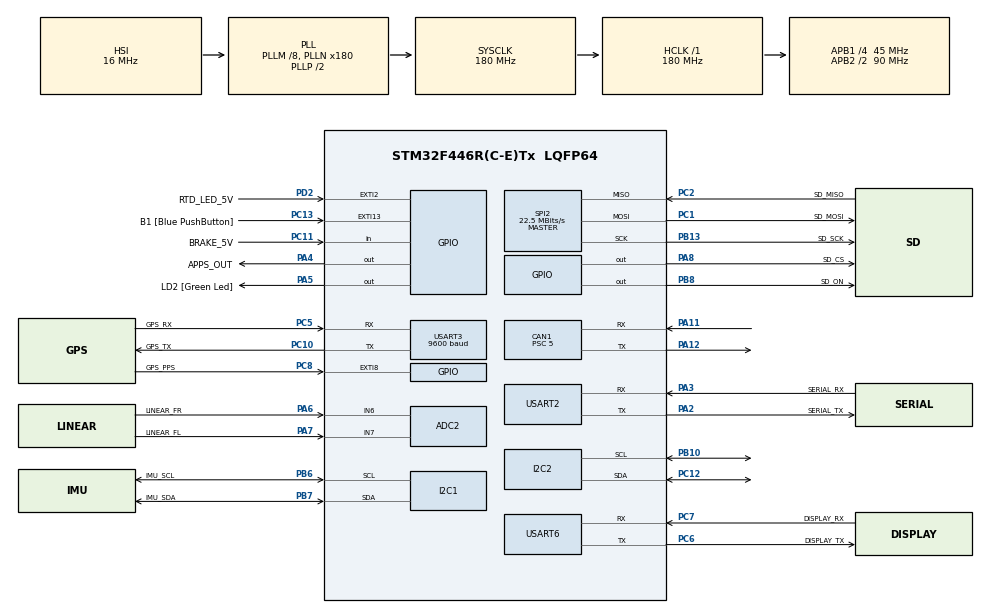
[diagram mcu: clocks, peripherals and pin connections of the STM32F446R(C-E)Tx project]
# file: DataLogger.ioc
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ADC2.Channel-10\#ChannelRegularConversion=ADC_CHANNEL_6
ADC2.Channel-11\#ChannelRegularConversion=ADC_CHANNEL_7
ADC2.ContinuousConvMode=ENABLE
ADC2.DMAContinuousRequests=ENABLE
ADC2.NbrOfConversion=2
ADC2.NbrOfConversionFlag=1
ADC2.Rank-10\#ChannelRegularConversion=1
ADC2.Rank-11\#ChannelRegularConversion=2
ADC2.SamplingTime-10\#ChannelRegularConversion=ADC_SAMPLETIME_480CYCLES
ADC2.SamplingTime-11\#ChannelRegularConversion=ADC_SAMPLETIME_480CYCLES
ADC2.ScanConvMode=ENABLE
CAN1.ABOM=ENABLE
CAN1.AWUM=DISABLE
CAN1.BS1=CAN_BS1_15TQ
CAN1.BS2=CAN_BS2_2TQ
CAN1.CalculateBaudRate=500000
CAN1.CalculateTimeBit=2000
CAN1.CalculateTimeQuantum=111.11111111111111
CAN1.Mode=CAN_MODE_NORMAL
CAN1.NART=ENABLE
CAN1.Prescaler=5
Dma.ADC2.1.Direction=DMA_PERIPH_TO_MEMORY
Dma.ADC2.1.FIFOMode=DMA_FIFOMODE_DISABLE
Dma.ADC2.1.Instance=DMA2_Stream2
Dma.ADC2.1.MemDataAlignment=DMA_MDATAALIGN_HALFWORD
Dma.ADC2.1.MemInc=DMA_MINC_ENABLE
Dma.ADC2.1.Mode=DMA_CIRCULAR
Dma.ADC2.1.PeriphDataAlignment=DMA_PDATAALIGN_HALFWORD
Dma.ADC2.1.PeriphInc=DMA_PINC_DISABLE
Dma.ADC2.1.Priority=DMA_PRIORITY_LOW
Dma.I2C1_RX.2.Direction=DMA_PERIPH_TO_MEMORY
Dma.I2C1_RX.2.FIFOMode=DMA_FIFOMODE_DISABLE
Dma.I2C1_RX.2.Instance=DMA1_Stream0
Dma.I2C1_RX.2.MemDataAlignment=DMA_MDATAALIGN_BYTE
Dma.I2C1_RX.2.MemInc=DMA_MINC_ENABLE
Dma.I2C1_RX.2.Mode=DMA_NORMAL
Dma.I2C1_RX.2.PeriphDataAlignment=DMA_PDATAALIGN_BYTE
Dma.I2C1_RX.2.PeriphInc=DMA_PINC_DISABLE
Dma.I2C1_RX.2.Priority=DMA_PRIORITY_LOW
Dma.I2C2_RX.3.Direction=DMA_PERIPH_TO_MEMORY
Dma.I2C2_RX.3.FIFOMode=DMA_FIFOMODE_DISABLE
Dma.I2C2_RX.3.Instance=DMA1_Stream2
Dma.I2C2_RX.3.MemDataAlignment=DMA_MDATAALIGN_BYTE
Dma.I2C2_RX.3.MemInc=DMA_MINC_ENABLE
Dma.I2C2_RX.3.Mode=DMA_NORMAL
Dma.I2C2_RX.3.PeriphDataAlignment=DMA_PDATAALIGN_BYTE
Dma.I2C2_RX.3.PeriphInc=DMA_PINC_DISABLE
Dma.I2C2_RX.3.Priority=DMA_PRIORITY_LOW
Dma.Request0=USART6_TX
Dma.Request1=ADC2
Dma.Request2=I2C1_RX
Dma.Request3=I2C2_RX
Dma.USART6_TX.0.Direction=DMA_MEMORY_TO_PERIPH
Dma.USART6_TX.0.FIFOMode=DMA_FIFOMODE_DISABLE
Dma.USART6_TX.0.Instance=DMA2_Stream6
Dma.USART6_TX.0.MemDataAlignment=DMA_MDATAALIGN_BYTE
Dma.USART6_TX.0.MemInc=DMA_MINC_ENABLE
Dma.USART6_TX.0.Mode=DMA_NORMAL
Dma.USART6_TX.0.PeriphDataAlignment=DMA_PDATAALIGN_BYTE
Dma.USART6_TX.0.PeriphInc=DMA_PINC_DISABLE
Dma.USART6_TX.0.Priority=DMA_PRIORITY_LOW
FATFS._MAX_SS=4096
FATFS._USE_LFN=1
I2C1.I2C_Mode=I2C_Standard
IWDG.Prescaler=IWDG_PRESCALER_32
Mcu.Family=STM32F4
Mcu.Name=STM32F446R(C-E)Tx
Mcu.Package=LQFP64
NVIC.CAN1_RX0_IRQn=true\:0\:0\:false\:false\:true\:true\:true\:true
NVIC.CAN1_SCE_IRQn=true\:0\:0\:false\:false\:true\:true\:true\:true
NVIC.DMA1_Stream0_IRQn=true\:0\:0\:false\:false\:true\:false\:true\:true
NVIC.DMA1_Stream2_IRQn=true\:0\:0\:false\:false\:true\:false\:true\:true
NVIC.DMA2_Stream2_IRQn=true\:0\:0\:false\:false\:true\:false\:true\:true
NVIC.DMA2_Stream6_IRQn=true\:0\:0\:false\:false\:true\:false\:true\:true
NVIC.EXTI15_10_IRQn=true\:0\:0\:false\:false\:true\:true\:true\:true
NVIC.EXTI9_5_IRQn=true\:0\:0\:false\:false\:true\:true\:true\:true
NVIC.I2C1_ER_IRQn=true\:0\:0\:false\:false\:true\:true\:true\:true
NVIC.I2C1_EV_IRQn=true\:0\:0\:false\:false\:true\:true\:true\:true
NVIC.I2C2_ER_IRQn=true\:0\:0\:false\:false\:true\:true\:true\:true
NVIC.I2C2_EV_IRQn=true\:0\:0\:false\:false\:true\:true\:true\:true
NVIC.PriorityGroup=NVIC_PRIORITYGROUP_0
NVIC.USART3_IRQn=true\:0\:0\:false\:false\:true\:true\:true\:true
NVIC.USART6_IRQn=true\:0\:0\:false\:false\:true\:true\:true\:true
PA0-WKUP.GPIO_Label=APPS1
PA0-WKUP.Signal=ADCx_IN0
PA11.Mode=CAN_Activate
PA11.Signal=CAN1_RX
PA12.Mode=CAN_Activate
PA12.Signal=CAN1_TX
PA13.GPIO_Label=TMS
PA13.Mode=Serial_Wire
PA13.Signal=SYS_JTMS-SWDIO
PA14.GPIO_Label=TCK
PA14.Mode=Serial_Wire
PA14.Signal=SYS_JTCK-SWCLK
PA2.GPIO_Label=SERIAL_TX
PA2.Mode=Asynchronous
PA2.Signal=USART2_TX
PA3.GPIO_Label=SERIAL_RX
PA3.Mode=Asynchronous
PA3.Signal=USART2_RX
PA4.GPIO_Label=APPS_OUT
PA4.Signal=GPIO_Output
PA5.GPIO_Label=LD2 [Green Led]
PA5.Signal=GPIO_Output
PA6.GPIO_Label=LINEAR_FR
PA6.Signal=ADCx_IN6
PA7.GPIO_Label=LINEAR_FL
PA7.Signal=ADCx_IN7
PA8.GPIO_Label=SD_CS
PA8.Signal=GPIO_Output
PB10.Mode=I2C
PB10.Signal=I2C2_SCL
PB13.GPIO_Label=SD_SCK
PB13.Mode=Full_Duplex_Master
PB13.Signal=SPI2_SCK
PB3.GPIO_Label=SWO
PB3.Signal=SYS_JTDO-SWO
PB6.GPIO_Label=IMU_SCL
PB6.Mode=I2C
PB6.Signal=I2C1_SCL
PB7.GPIO_Label=IMU_SDA
PB7.Mode=I2C
PB7.Signal=I2C1_SDA
PB8.GPIO_Label=SD_ON
PB8.Signal=GPIO_Output
PC1.GPIO_Label=SD_MOSI
PC1.Mode=Full_Duplex_Master
PC1.Signal=SPI2_MOSI
PC10.GPIO_Label=GPS_TX
PC10.Mode=Asynchronous
PC10.Signal=USART3_TX
PC11.GPIO_Label=BRAKE_5V
PC11.Signal=GPIO_Input
PC12.Mode=I2C
PC12.Signal=I2C2_SDA
PC13.GPIO_Label=B1 [Blue PushButton]
PC13.GPIO_ModeDefaultEXTI=GPIO_MODE_IT_FALLING
PC13.Signal=GPXTI13
PC14-OSC32_IN.Signal=RCC_OSC32_IN
PC15-OSC32_OUT.Signal=RCC_OSC32_OUT
PC2.GPIO_Label=SD_MISO
PC2.Mode=Full_Duplex_Master
PC2.Signal=SPI2_MISO
PC5.GPIO_Label=GPS_RX
PC5.Mode=Asynchronous
PC5.Signal=USART3_RX
PC6.GPIO_Label=DISPLAY_TX
PC6.Mode=Asynchronous
PC6.Signal=USART6_TX
PC7.GPIO_Label=DISPLAY_RX
PC7.Mode=Asynchronous
PC7.Signal=USART6_RX
PC8.GPIO_Label=GPS_PPS
PC8.Signal=GPXTI8
PD2.GPIO_Label=RTD_LED_5V
PD2.GPIO_ModeDefaultEXTI=GPIO_MODE_IT_RISING_FALLING
PD2.Signal=GPXTI2
PH0-OSC_IN.Signal=RCC_OSC_IN
PH1-OSC_OUT.Signal=RCC_OSC_OUT
ProjectManager.HeapSize=0x800
ProjectManager.StackSize=0x1000
ProjectManager.TargetToolchain=STM32CubeIDE
RCC.48MHZClocksFreq_Value=84000000
RCC.AHBFreq_Value=180000000
RCC.APB1CLKDivider=RCC_HCLK_DIV4
RCC.APB1Freq_Value=45000000
RCC.APB1TimFreq_Value=90000000
RCC.APB2CLKDivider=RCC_HCLK_DIV2
RCC.APB2Freq_Value=90000000
RCC.APB2TimFreq_Value=180000000
RCC.CortexFreq_Value=180000000
RCC.FLatency-AdvancedSettings=FLASH_LATENCY_5
RCC.HCLKFreq_Value=180000000
RCC.HSE_VALUE=8000000
RCC.HSI_VALUE=16000000
RCC.PLLM=8
RCC.PLLN=180
RCC.PLLQ=8
RCC.SYSCLKFreq_VALUE=180000000
RCC.SYSCLKSource=RCC_SYSCLKSOURCE_PLLCLK
RCC.USBFreq_Value=45000000
RCC.VCOOutputFreq_Value=360000000
SH.ADCx_IN0.0=ADC1_IN0
SH.ADCx_IN6.0=ADC2_IN6,IN6
SH.ADCx_IN7.0=ADC2_IN7,IN7
SPI2.CalculateBaudRate=22.5 MBits/s
SPI2.Direction=SPI_DIRECTION_2LINES
SPI2.Mode=SPI_MODE_MASTER
SPI2.VirtualType=VM_MASTER
USART2.VirtualMode=VM_ASYNC
USART3.BaudRate=9600
USART3.VirtualMode=VM_ASYNC
USART6.VirtualMode=VM_ASYNC
VP_FATFS_VS_Generic.Mode=User_defined
VP_IWDG_VS_IWDG.Mode=IWDG_Activate
VP_RTC_VS_RTC_Activate.Mode=RTC_Enabled
board=NUCLEO-F446RE

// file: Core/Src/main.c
/* USER CODE BEGIN Header */
/**
  ******************************************************************************
  * @file           : main.c
  * @brief          : Main program body
  ******************************************************************************
  * @attention
  *
  * Copyright (c) 2026 STMicroelectronics.
  * All rights reserved.
  *
  * This software is licensed under terms that can be found in the LICENSE file
  * in the root directory of this software component.
  * If no LICENSE file comes with this software, it is provided AS-IS.
  *
  ******************************************************************************
  */
/* USER CODE END Header */
#include "main.h"
#include "adc.h"
#include "can.h"
#include "dma.h"
#include "fatfs.h"
#include "i2c.h"
#include "iwdg.h"
#include "rtc.h"
#include "spi.h"
#include "usart.h"
#include "gpio.h"

/* USER CODE BEGIN Includes */
#include <stdio.h>
#include <string.h>
#include "gps.h"
#include "ringbuffer.h"
#include "MPU9250.h"
#include "VehicleState.h"
#include "DisplayTransmit.h"
#include "CrossDetect.h"
#include "APPS.h"
/* USER CODE END Includes */

/* USER CODE BEGIN PV */

// GPS //
extern GPS_t GPS; 			// GPS Data

int retry_count = 0;

float GPS_prev_lat = 0;
float GPS_prev_lon = 0;

// MPU //
MPU9250_t myMPU;
double gyro_bias[3] = {0, 0, 0};
double mag_bias[3] = {0, 0, 0};
double cal_gyro[3];
double cal_mag[3];

// Linear //
int32_t linear_bias[2] = {0, 0};

// prev tick //
static uint32_t imu_prev_tick = 0;
static uint32_t mag_prev_tick = 0;
static uint32_t sd_prev_tick = 0;
static uint32_t sync_prev_tick = 0;
static uint32_t linear_prev_tick = 0;
static uint32_t ped_prev_tick = 0;
volatile uint8_t sync_pending = 0;

// FATFS & microSD //
char sd_temp[2048];
uint16_t current_len = 0; // SDIO 용 데이터 길이 확인용
uint16_t remain = 0;
uint8_t can_count = 0;

__attribute__((aligned(4))) FATFS   fs;   // FATFS structure
FIL     file; // File object structure
FRESULT res;  // File function return code
UINT    bytes_written; // The number of bytes actually written
uint32_t sync_count = 0;

// Display and States
VehicleState VS;
DisplayTransmit DISP;
extern uint8_t disp_dma_ready;
extern uint8_t laps;
extern uint32_t lap_time;
extern uint32_t pre_tick;
extern volatile uint16_t advBuf[2];

// RTC
RTC_DateTypeDef sDate;
RTC_TimeTypeDef sTime;

volatile uint8_t current_Hours = 0;
volatile uint8_t current_Minutes = 0;
volatile uint8_t current_Seconds = 0;
volatile int current_SubSeconds = 0;

uint16_t sync_error = 0;

uint32_t UTC_temp  = 0;
uint32_t UTC_prev = 0;
volatile uint8_t UTC_flag = 0;
volatile uint8_t RTD_flag = 0;

// Module Status
uint8_t init_status = 0; // 0:CAN  1:SD  2:GPS  3:IMU 4: UTC
uint8_t RTD_status = 0; // 0: RTD OFF, 1: RTD ON
uint8_t UTC_status = 0; // 0 : UTC Unsynced, 1: UTC Synced

extern float pos1;
extern float pos2;
/* USER CODE END PV */

void SystemClock_Config(void);
/* USER CODE BEGIN PFP */

// SPI2 통신 기본 PFP //
void SD_Init(void);
void SD_WriteFile(char *data, int len);
void SD_SaveFile(void);

// UART 통신 기본 PFP //
int _write(int file, char *ptr, int len);   // printf UART 출력
/* USER CODE END PFP */

/* USER CODE BEGIN 0 */

int _write(int file, char *ptr, int len) // printf UART 출력
{
    HAL_UART_Transmit(&huart2, (uint8_t*)ptr, len, HAL_MAX_DELAY);
    return len;
}

// SDIO //
void SD_Init(void) {
	// 1. SD card Mount
	HAL_GPIO_WritePin(SD_ON_GPIO_Port, SD_ON_Pin, GPIO_PIN_RESET);

	HAL_Delay(500);

	HAL_GPIO_WritePin(SD_ON_GPIO_Port, SD_ON_Pin, GPIO_PIN_SET);

	res = f_mount(&fs, "", 1);
	if (res != FR_OK) {
		init_status |= (1 << 1);
	}

	res = f_open(&file, "data.csv", FA_WRITE | FA_OPEN_APPEND);
	if (res != FR_OK) {
		init_status |= (1 << 1);
	}
}

void SD_WriteFile(char *data, int len){
	res = f_write(&file, data, len, &bytes_written);
	if (res == FR_OK) {
		//printf("Write Complete!\n");
	} else {
		//printf("Write Failed! Error Code : %d\n", res);
	}
}

void SD_SaveFile(void){
	res = f_sync(&file);
	if (res == FR_OK) {
		HAL_GPIO_WritePin(GPIOA, GPIO_PIN_5, GPIO_PIN_SET);
		//HAL_GPIO_WritePin(APPS_OUT_GPIO_Port, APPS_OUT_Pin, GPIO_PIN_SET);
		//printf("Sync Complete!\n");
	} else {
		//printf("Sync Failed! Error Code : %d\n", res);
		HAL_GPIO_WritePin(GPIOA, GPIO_PIN_5, GPIO_PIN_RESET);
		//HAL_GPIO_WritePin(APPS_OUT_GPIO_Port, APPS_OUT_Pin, GPIO_PIN_RESET);
		Error_Handler();
	}
}

// RTC //
void get_time(void)
{
	HAL_RTC_GetTime(&hrtc, &sTime, RTC_FORMAT_BCD);
	HAL_RTC_GetDate(&hrtc, &sDate, RTC_FORMAT_BCD);
}

void CAN_Send_Blocking(CAN_HandleTypeDef *hcan, uint32_t id, uint8_t *data, uint8_t len)
{
	HAL_Delay(10);
    uint32_t timeout = HAL_GetTick();
    // 빈 메일박스가 생길 때까지 대기
    while (HAL_CAN_GetTxMailboxesFreeLevel(hcan) == 0) {
        if (HAL_GetTick() - timeout > 10) return;   // 10ms 타임아웃
    }
    CAN_Send(hcan, id, data, len);
}
/* USER CODE END 0 */

int main(void)
{

  /* MCU Configuration--------------------------------------------------------*/

  /* Reset of all peripherals, Initializes the Flash interface and the Systick. */
  HAL_Init();

  /* Configure the system clock */
  SystemClock_Config();

  /* Initialize all configured peripherals */
  MX_GPIO_Init();
  MX_DMA_Init();
  MX_USART2_UART_Init();
  MX_CAN1_Init();
  MX_RTC_Init();
  MX_FATFS_Init();
  MX_USART3_UART_Init();
  MX_I2C1_Init();
  MX_SPI2_Init();
  MX_USART6_UART_Init();
  MX_IWDG_Init();
  MX_ADC2_Init();
  MX_I2C2_Init();
  /* USER CODE BEGIN 2 */
  HAL_Delay(250);

  // CAN Init
  CAN_Config();

  // SD Init
  SD_Init();

  // GPS Init
  GPS_Init();

  // MPU Init
  //MPU_Init(&myMPU);

  // Linear Sensor Init
  //Linear_Init();

  // APPS Init
  APPS_Init();

  HAL_IWDG_Refresh(&hiwdg);
  if(init_status != 0) {
	  Error_Handler();
  }

  // Logging Start
  get_time();
  float subsec = (float)(255 - sTime.SubSeconds) / 256.0f;

  current_len += snprintf(sd_temp + current_len, sizeof(sd_temp) - current_len,
		  "%02x:%02x:%02x.%03d,SYSTEM,CONFIG ON,%d\n",
		  sTime.Hours, sTime.Minutes, sTime.Seconds, (int)(subsec*1000), init_status);

  DisplayTransmit_Init(&DISP, &VS);

  // IMU, Linear Calibration
  uint16_t CAL_count = 1000;
  while(CAL_count >0)
  {
	  CAL_count--;

	  MPU9250_ReadGyro(&myMPU);

	  gyro_bias[0] += myMPU.gyro[0];
	  gyro_bias[1] += myMPU.gyro[1];
	  gyro_bias[2] += myMPU.gyro[2];

	  //linear_bias[0] += advBuf[0];
	  //linear_bias[1] += advBuf[1];

  }

  gyro_bias[0] = gyro_bias[0] / 1000;
  gyro_bias[1] = gyro_bias[1] / 1000;
  gyro_bias[2] = gyro_bias[2] / 1000;

  //linear_bias[0] = linear_bias[0] / 1000;
  //linear_bias[1] = linear_bias[1] / 1000;

  //모컨 통신속도 제어

  uint8_t dat0[3] ={0x3D, 0x32, 0xFF};
  uint8_t dat1[3] ={0x3D, 0x30, 0x0A};
  uint8_t dat2[3] ={0x3D, 0x22, 0xFF};
  uint8_t dat3[3] ={0x3D, 0x27, 0xFF};
  uint8_t dat4[3] ={0x3D, 0x8A, 0xFF};
  uint8_t dat5[3] ={0x3D, 0x66, 0xFF};
  uint8_t dat6[3] ={0x3D, 0x49, 0x64};
  uint8_t dat7[3] ={0x3D, 0x4A, 0x64};

  //CAN_Send_Blocking(&hcan1, MOTOTX, dat0, 3);
  CAN_Send_Blocking(&hcan1, MOTOTX, dat1, 3);
  //CAN_Send_Blocking(&hcan1, MOTOTX, dat2, 3);
  //CAN_Send_Blocking(&hcan1, MOTOTX, dat3, 3);
  //CAN_Send_Blocking(&hcan1, MOTOTX, dat4, 3);
  //CAN_Send_Blocking(&hcan1, MOTOTX, dat5, 3);
  CAN_Send_Blocking(&hcan1, MOTOTX, dat6, 3);
  CAN_Send_Blocking(&hcan1, MOTOTX, dat7, 3);

  /* USER CODE END 2 */

  /* Infinite loop */
  /* USER CODE BEGIN WHILE */
  while (1)
  {
	  HAL_IWDG_Refresh(&hiwdg);

	  // RTD 체크
	  /*
	  RTD_flag = HAL_GPIO_ReadPin(RTD_LED_5V_GPIO_Port,RTD_LED_5V_Pin);
	  if(RTD_flag != RTD_status){
		  RTD_status = RTD_flag;

		  get_time();
		  float subsec = (float)(255 - sTime.SubSeconds) / 256.0f;

		  if(RTD_status == 1) {
			  current_len += snprintf(sd_temp + current_len, sizeof(sd_temp) - current_len,
					  	  	  "%02x:%02x:%02x.%03d,SYSTEM,RTD ON\n",
			  		  			sTime.Hours, sTime.Minutes, sTime.Seconds, (int)(subsec*1000));
		  } else if(RTD_status == 0) {
			  current_len += snprintf(sd_temp + current_len, sizeof(sd_temp) - current_len,
					  	  	  "%02x:%02x:%02x.%03d,SYSTEM,RTD OFF\n",
			  		  			sTime.Hours, sTime.Minutes, sTime.Seconds, (int)(subsec*1000));
		  }
	  }
	  */

	  RTD_status = 1;

	  // UTC - RTC 동기화
	  if(UTC_flag) {
	      UTC_temp = GPS.utc_time;

	      if(UTC_temp != UTC_prev && GPS.utc_time != 0) {
	          UTC_prev = UTC_temp;

	          uint32_t h = UTC_temp / 10000;
	          uint32_t m = (UTC_temp / 100) % 100;
	          uint32_t s = UTC_temp % 100;

	          s += 1;                          // PPS = 직전 초 +1
	          if(s >= 60) { s -= 60; m++; }
	          if(m >= 60) { m -= 60; h++; }
	          h += 9;                          // KST (UTC+9)
	          if(h >= 24) { h -= 24; }         // 날짜는 안 넘김 (주의)

	          sTime.Hours   = RTC_ByteToBcd2(h);
	          sTime.Minutes = RTC_ByteToBcd2(m);
	          sTime.Seconds = RTC_ByteToBcd2(s);
	          sTime.SubSeconds = 0;

	          HAL_RTC_SetTime(&hrtc, &sTime, RTC_FORMAT_BCD);
	          if(!init_status) {
	              current_len += snprintf(sd_temp + current_len, sizeof(sd_temp) - current_len,
	                      "%02x:%02x:%02x.%03d,SYSTEM,RTC-UTC SYNC\n",
	                      sTime.Hours, sTime.Minutes, sTime.Seconds, (int)(subsec*1000));
	              init_status |= 1<<4;
	          }
	      }
	      UTC_flag = 0;
	  }

	  // CAN Messages
	  can_count = 0;
	  while(IsPopAvailable() && can_count < 32)
	  {
		  get_time();
		  float subsec = (float)(255 - sTime.SubSeconds) / 256.0f;
	      RxMessage received = RingPop();
		  Classifier(&VS, received);
		  if(RTD_status) {
			  remain = sizeof(sd_temp) - current_len;
			  if (remain < 128) break;

			  current_len += snprintf(sd_temp + current_len, sizeof(sd_temp) - current_len, "%02x:%02x:%02x.%03d",
						sTime.Hours, sTime.Minutes, sTime.Seconds, (int)(subsec*1000));

			  current_len += snprintf(sd_temp + current_len, sizeof(sd_temp) - current_len, ",%lx", received.RxHeader.StdId);
			  for(int i = 0; i < received.RxHeader.DLC; i++) {
				  current_len += snprintf(sd_temp + current_len, sizeof(sd_temp) - current_len, ",%d", received.RxData[i]);
				  }
			  current_len += snprintf(sd_temp + current_len, sizeof(sd_temp) - current_len, ",\n");
			  can_count++;
		  }
	  }

	  // GPS (10Hz)
	  remain = sizeof(sd_temp) - current_len;
	  if (remain >= 128)
	  {
		  if(GPS.dec_latitude != GPS_prev_lat || GPS.dec_longitude != GPS_prev_lon)
		  {
			  if(RTD_status) {
				  get_time();
				  float subsec = (float)(255 - sTime.SubSeconds) / 256.0f;

				  current_len += snprintf(sd_temp + current_len, sizeof(sd_temp) - current_len, "%02x:%02x:%02x.%03d",
									sTime.Hours, sTime.Minutes, sTime.Seconds, (int)(subsec*1000));

				  current_len += snprintf(sd_temp + current_len, sizeof(sd_temp) - current_len, ",GPS,%f,%f,%f\n",
						  GPS.dec_latitude, GPS.dec_longitude, GPS.course_t);

				  //printf("GPS : %s", sd_temp);

				  if(get_line_intersection(GPS_prev_lat, GPS_prev_lon,
									  GPS.dec_latitude, GPS.dec_longitude))
				  {
					  current_len += snprintf(sd_temp + current_len, sizeof(sd_temp) - current_len, "%02x:%02x:%02x.%03d",
													sTime.Hours, sTime.Minutes, sTime.Seconds, (int)(subsec*1000));
					  current_len += snprintf(sd_temp + current_len, sizeof(sd_temp) - current_len, ",LAP,%d,%u\n",
											  laps, lap_time);
				  }
			  }

			  // 8. GPS 데이터 임시 저장 후 비교
			  GPS_prev_lat = GPS.dec_latitude;
			  GPS_prev_lon = GPS.dec_longitude;
		  }
	  }
/*
	  // Laps
	  VS.laps = laps;
	  VS.lap_time = (uint32_t)(HAL_GetTick() - pre_tick);
*/

	  // IMU (200Hz)
	  remain = sizeof(sd_temp) - current_len;
	  if (remain >= 128) {
		  if(HAL_GetTick() - imu_prev_tick >= 5) {
			  // 0. IMU 데이터 읽기
			  imu_prev_tick += 5;

			  MPU9250_ReadAcc(&myMPU);
			  MPU9250_ReadGyro(&myMPU);

			  cal_gyro[0] = myMPU.gyro[0] - gyro_bias[0];
			  cal_gyro[1] = myMPU.gyro[1] - gyro_bias[1];
			  cal_gyro[2] = myMPU.gyro[2] - gyro_bias[2];

			  if(RTD_status) {
				  get_time();
				  float subsec = (float)(255 - sTime.SubSeconds) / 256.0f;

				  current_len += snprintf(sd_temp + current_len, sizeof(sd_temp) - current_len, "%02x:%02x:%02x.%03d",
									sTime.Hours, sTime.Minutes, sTime.Seconds, (int)(subsec*1000));

				  current_len += snprintf(sd_temp + current_len, sizeof(sd_temp) - current_len,
						  ",IMU,%f,%f,%f,%f,%f,%f\n",
						  myMPU.acc[0], myMPU.acc[1], myMPU.acc[2],
						  cal_gyro[0], cal_gyro[1], cal_gyro[2]);
			  }
			  VehicleState_set_lat_g(&VS,  (uint16_t)(myMPU.acc[0] * 10.0f + 30.0f));
			  VehicleState_set_long_g(&VS, (uint16_t)(myMPU.acc[1] * 10.0f + 30.0f));
		  }
	  }

	  // MAGNETOMETER (100Hz)
	  remain = sizeof(sd_temp) - current_len;
	  if (remain >= 128) {
	  	if(HAL_GetTick() - mag_prev_tick >= 10) {
	  		mag_prev_tick += 10;

	  	    MPU9250_ReadMag(&myMPU);

	  		cal_mag[0] = myMPU.mag[0] - mag_bias[0];
	  		cal_mag[1] = myMPU.mag[1] - mag_bias[1];
	  		cal_mag[2] = myMPU.mag[2] - mag_bias[2];

	  		if(RTD_status) {
				get_time();
				float subsec = (float)(255 - sTime.SubSeconds) / 256.0f;

				current_len += snprintf(sd_temp + current_len, sizeof(sd_temp) - current_len, "%02x:%02x:%02x.%03d",
										sTime.Hours, sTime.Minutes, sTime.Seconds, (int)(subsec*1000));

				current_len += snprintf(sd_temp + current_len, sizeof(sd_temp) - current_len,",MAG,%f,%f,%f\n",
										cal_mag[0], cal_mag[1], cal_mag[2]);
	  		}
	    }
	  }
/*

	  // Linear Sensor
	  remain = sizeof(sd_temp) - current_len;
	  if (remain >= 128) {
		  if(HAL_GetTick() - linear_prev_tick >= 5) {
			  linear_prev_tick += 5;

			  if(RTD_status) {
				  get_time();
				  float subsec = (float)(255 - sTime.SubSeconds) / 256.0f;

				  current_len += snprintf(sd_temp + current_len, sizeof(sd_temp) - current_len, "%02x:%02x:%02x.%03d",
										sTime.Hours, sTime.Minutes, sTime.Seconds, (int)(subsec*1000));

				  current_len += snprintf(sd_temp + current_len, sizeof(sd_temp) - current_len,",LIN,%f,%f\n",
							(float)(advBuf[0] - linear_bias[0]) * 75.0f / 4095.0f,
							(float)(advBuf[1] - linear_bias[1]) * 75.0f / 4095.0f);
			  }
		  }
	  }

	  // Brake, APPS (100Hz)

	  remain = sizeof(sd_temp) - current_len;
	  if (remain >= 128) {
	  	if(HAL_GetTick() - ped_prev_tick >= 5) {
	  		ped_prev_tick += 5;

	  	    // APPS 판정
	  	    APPS();
	  	    VS.apps = get_p();

	  		if(RTD_status) {
				get_time();
				float subsec = (float)(255 - sTime.SubSeconds) / 256.0f;

				current_len += snprintf(sd_temp + current_len, sizeof(sd_temp) - current_len, "%02x:%02x:%02x.%03d",
										sTime.Hours, sTime.Minutes, sTime.Seconds, (int)(subsec*1000));

				current_len += snprintf(sd_temp + current_len, sizeof(sd_temp) - current_len,",PED,%d\n",
										HAL_GPIO_ReadPin(BRAKE_5V_GPIO_Port,BRAKE_5V_Pin));

	  		}

	    }
	  }

*/

	  // SD카드 동기롸
	  if (current_len >= 512 || HAL_GetTick() - sd_prev_tick >= 1000)
	  {
		  if(current_len > 0) {
			  SD_WriteFile(sd_temp, current_len);
			  current_len = 0;
			  sync_pending = 1;
			  sd_prev_tick = HAL_GetTick();
		  }

		  if (HAL_GetTick() - sync_prev_tick >= 5000) {
		      if (sync_pending) {
		          SD_SaveFile();
		          sync_pending = 0;
		          sync_count++;
		      }
		      sync_prev_tick = HAL_GetTick();
		  }
	  }

	  // 디스플레이 전송
	  DisplayTransmit_Transmit(&DISP);
    /* USER CODE END WHILE */

  }
}

void SystemClock_Config(void)
{
  RCC_OscInitTypeDef RCC_OscInitStruct = {0};
  RCC_ClkInitTypeDef RCC_ClkInitStruct = {0};

  /** Configure the main internal regulator output voltage
  */
  __HAL_RCC_PWR_CLK_ENABLE();
  __HAL_PWR_VOLTAGESCALING_CONFIG(PWR_REGULATOR_VOLTAGE_SCALE1);

  /** Initializes the RCC Oscillators according to the specified parameters
  * in the RCC_OscInitTypeDef structure.
  */
  RCC_OscInitStruct.OscillatorType = RCC_OSCILLATORTYPE_HSI|RCC_OSCILLATORTYPE_LSI;
  RCC_OscInitStruct.LSEState = RCC_LSE_OFF;
  RCC_OscInitStruct.HSIState = RCC_HSI_ON;
  RCC_OscInitStruct.HSICalibrationValue = RCC_HSICALIBRATION_DEFAULT;
  RCC_OscInitStruct.LSIState = RCC_LSI_ON;
  RCC_OscInitStruct.PLL.PLLState = RCC_PLL_ON;
  RCC_OscInitStruct.PLL.PLLSource = RCC_PLLSOURCE_HSI;
  RCC_OscInitStruct.PLL.PLLM = 8;
  RCC_OscInitStruct.PLL.PLLN = 180;
  RCC_OscInitStruct.PLL.PLLP = RCC_PLLP_DIV2;
  RCC_OscInitStruct.PLL.PLLQ = 8;
  RCC_OscInitStruct.PLL.PLLR = 2;
  if (HAL_RCC_OscConfig(&RCC_OscInitStruct) != HAL_OK)
  {
    Error_Handler();
  }

  /** Activate the Over-Drive mode
  */
  if (HAL_PWREx_EnableOverDrive() != HAL_OK)
  {
    Error_Handler();
  }

  /** Initializes the CPU, AHB and APB buses clocks
  */
  RCC_ClkInitStruct.ClockType = RCC_CLOCKTYPE_HCLK|RCC_CLOCKTYPE_SYSCLK
                              |RCC_CLOCKTYPE_PCLK1|RCC_CLOCKTYPE_PCLK2;
  RCC_ClkInitStruct.SYSCLKSource = RCC_SYSCLKSOURCE_PLLCLK;
  RCC_ClkInitStruct.AHBCLKDivider = RCC_SYSCLK_DIV1;
  RCC_ClkInitStruct.APB1CLKDivider = RCC_HCLK_DIV4;
  RCC_ClkInitStruct.APB2CLKDivider = RCC_HCLK_DIV2;

  if (HAL_RCC_ClockConfig(&RCC_ClkInitStruct, FLASH_LATENCY_5) != HAL_OK)
  {
    Error_Handler();
  }
}

/* USER CODE BEGIN 4 */
/* CallBack Function */
void HAL_UART_TxCpltCallback(UART_HandleTypeDef *huart) {
    if (huart->Instance == USART6) {   // 디스플레이 UART인지 확인
        disp_dma_ready = 1;
    }
}

void HAL_UART_RxCpltCallback(UART_HandleTypeDef *huart) {
    if (huart->Instance == USART3) {
        GPS_UART_CallBack();
    }
}

void HAL_GPIO_EXTI_Callback(uint16_t GPIO_PIN) {
	if(GPIO_PIN == GPS_PPS_Pin) {
		UTC_flag = 1;
	}
}
/* USER CODE END 4 */

void Error_Handler(void)
{
  /* USER CODE BEGIN Error_Handler_Debug */
  /* User can add his own implementation to report the HAL error return state */
  get_time();
  float subsec = (float)(255 - sTime.SubSeconds) / 256.0f;
  current_len += snprintf(sd_temp + current_len, sizeof(sd_temp) - current_len,
			  "%02x:%02x:%02x.%03d,SYSTEM,CONFIG FAIL,%d\n",
			  sTime.Hours, sTime.Minutes, sTime.Seconds, (int)(subsec*1000), init_status);
  SD_WriteFile(sd_temp, current_len);
  SD_SaveFile();

  while (1)
  {

  }
  /* USER CODE END Error_Handler_Debug */
}
